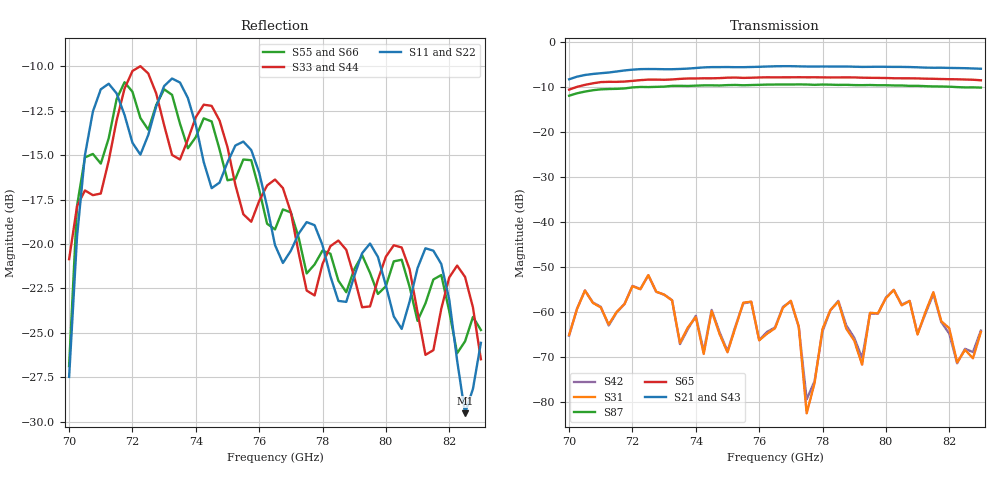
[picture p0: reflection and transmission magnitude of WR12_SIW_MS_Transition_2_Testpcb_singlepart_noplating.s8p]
! Touchstone file exported from HFSS 2020.2.0
!  File:  /home/erdoel/scratch/P2S30/WR12_SIW_MS_Transition_2.aedt
!  Generated:  7:35:16 AM  May 20, 2021
!  Design:  Testpcb_singlepart_noplating
!  Project:  WR12_SIW_MS_Transition_2
!  Setup:  Setup1
!  Solution:  Sweep
! Variables:
!  T_L2 = 35um
!  fil = 0.3mm
!  hm = 0.36mm
!  hsub = 0.127mm
!  hwg = 1.55mm
!  l1 = 1.05mm
!  lcav = 1.92mm
!  len50 = 12.48mm
!  lt = 0.7mm
!  offx = 0um
!  offy = 0um
!  radalign = 0.8mm
!  radscrew = 1.1mm
!  rvia = 0.075mm
!  s1 = 1.33mm
!  shift = 20um
!  sl = 3.1mm
!  sy = 0.65mm
!  th = 35um
!  w1 = 1.17mm
!  w50 = 300um
!  wcav = 3.45mm
!  wm = 1.9mm
!  wslot = 1.5mm
!  wt = 0.6mm
!  wwg = 3.1mm
!  x1 = 0.325mm
!  x2 = 15mm
!  x3 = 25mm
!  ysep = 40mm
!Data is not renormalized
# GHZ S MA
! Terminal data exported
! Port[1] = L1_WG1
! Port[2] = L1_WG2
! Port[3] = L2_WG1
! Port[4] = L2_WG2
! Port[5] = L3_WG1
! Port[6] = L3_WG2
! Port[7] = L4_WG1
! Port[8] = L4_WG2
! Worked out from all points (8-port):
!   53 points, 70 GHz to 83 GHz, reference per port
!   strongest paths, dB at 70 GHz, 73.25 GHz, 76.5 GHz, 79.75 GHz, 83 GHz:
!     S21: -8.2, -6.0, -5.3, -5.4, -5.9
!     S43: -8.2, -5.8, -5.5, -5.5, -5.9
!     S65: -10.5, -8.3, -7.8, -7.9, -8.4
!     S87: -11.9, -9.7, -9.4, -9.5, -10.1
!     S31: -65.1, -57.4, -63.6, -60.3, -64.4
!     S42: -65.3, -57.4, -63.4, -60.4, -64.1
!   lowest |S11| = -29.5 dB at 82.5 GHz (marker M1), VSWR 1.07
!   |S11| at or under -10 dB: start of sweep to end of sweep
